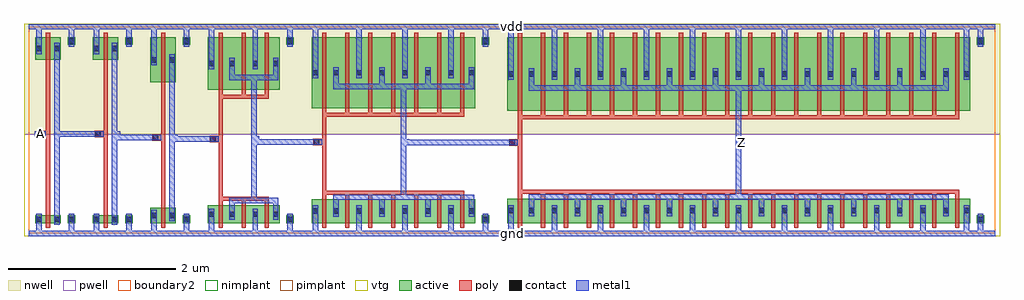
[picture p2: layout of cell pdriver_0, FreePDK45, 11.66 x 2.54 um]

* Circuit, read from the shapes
.subckt pdriver_0 A Z gnd vdd
M1 pinv_6_1/A A gnd gnd nfet w=0.09u l=0.05u
M2 pinv_7_2/A pinv_6_1/A gnd gnd nfet w=0.09u l=0.05u
M3 pinv_8_3/A pinv_7_2/A gnd gnd nfet w=0.18u l=0.05u
M4 pinv_9_4/A pinv_8_3/A gnd gnd nfet w=0.21u l=0.05u m=3
M5 pinv_10_5/A pinv_9_4/A gnd gnd nfet w=0.2825u l=0.05u m=7
M6 Z pinv_10_5/A gnd gnd nfet w=0.2925u l=0.05u m=20
M7 pinv_6_1/A A vdd vdd pfet w=0.27u l=0.05u
M8 pinv_7_2/A pinv_6_1/A vdd vdd pfet w=0.27u l=0.05u
M9 pinv_8_3/A pinv_7_2/A vdd vdd pfet w=0.54u l=0.05u
M10 pinv_9_4/A pinv_8_3/A vdd vdd pfet w=0.63u l=0.05u m=3
M11 pinv_10_5/A pinv_9_4/A vdd vdd pfet w=0.8475u l=0.05u m=7
M12 Z pinv_10_5/A vdd vdd pfet w=0.8775u l=0.05u m=20
.ends

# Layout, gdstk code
import gdstk
lib = gdstk.Library(unit=1e-6, precision=5e-10)
def R(c, l, rs):  # rectangles x0, y0, x1, y1
    for r in rs: c.add(gdstk.rectangle(r[:2], r[2:], *l))
def A(c, l, x, y, w, h, nx, ny, dx, dy):  # array of equal rectangles
    R(c, l, [(x+i*dx, y+j*dy, x+i*dx+w, y+j*dy+h) for i in range(nx) for j in range(ny)])
active = (1, 0)
pwell = (2, 0)
nwell = (3, 0)
nimplant = (4, 0)
pimplant = (5, 0)
vtg = (6, 0)
poly = (9, 0)
contact = (10, 0)
metal1 = (11, 0)
boundary2 = (239, 0)

contact_10 = lib.new_cell('contact_10')
R(contact_10, active, [(0,0.0225,0.09,0.1125)])
R(contact_10, nwell, [(-0.055,-0.0325,0.145,0.1675)])
R(contact_10, pimplant, [(0,0.0225,0.09,0.1125)])
R(contact_10, contact, [(0.0125,0.035,0.0775,0.1)])
R(contact_10, metal1, [(0.0125,0,0.0775,0.135)])
R(contact_10, boundary2, [(-0.055,-0.0325,0.145,0.1675)])

pmos_m1_w0_270_sm1_dm1_d = lib.new_cell('pmos_m1_w0_270_sm1_dm1_da_p')
R(pmos_m1_w0_270_sm1_dm1_d, active, [(0,0,0.305,0.27)])
R(pmos_m1_w0_270_sm1_dm1_d, nwell, [(-0.08,-0.08,0.385,0.35)])
R(pmos_m1_w0_270_sm1_dm1_d, pimplant, [(0,0,0.305,0.27)])
R(pmos_m1_w0_270_sm1_dm1_d, vtg, [(-0.08,-0.08,0.385,0.35)])
R(pmos_m1_w0_270_sm1_dm1_d, poly, [(0.1275,-0.055,0.1775,0.325), (0.1275,-0.055,0.1775,0.325)])
R(pmos_m1_w0_270_sm1_dm1_d, metal1, [(0.0125,0.0675,0.0775,0.2025), (0.2275,0.0675,0.2925,0.2025)])
R(pmos_m1_w0_270_sm1_dm1_d, boundary2, [(-0.08,-0.08,0.385,0.35)])
pmos_m1_w0_270_sm1_dm1_d.add(gdstk.Reference(contact_10, (0,0.0675)))
pmos_m1_w0_270_sm1_dm1_d.add(gdstk.Reference(contact_10, (0.215,0.0675)))
pmos_m1_w0_270_sm1_dm1_d.add(gdstk.Label('G', (0.1525,0.135), layer=9, texttype=0))
pmos_m1_w0_270_sm1_dm1_d.add(gdstk.Label('S', (0.045,0.135), layer=11, texttype=0))
pmos_m1_w0_270_sm1_dm1_d.add(gdstk.Label('D', (0.26,0.135), layer=11, texttype=0))

contact_9 = lib.new_cell('contact_9')
R(contact_9, active, [(0,0.0225,0.09,0.1125)])
R(contact_9, pwell, [(-0.055,-0.0325,0.145,0.1675)])
R(contact_9, nimplant, [(0,0.0225,0.09,0.1125)])
R(contact_9, contact, [(0.0125,0.035,0.0775,0.1)])
R(contact_9, metal1, [(0.0125,0,0.0775,0.135)])
R(contact_9, boundary2, [(-0.055,-0.0325,0.145,0.1675)])

nmos_m1_w0_090_sm1_dm1_d = lib.new_cell('nmos_m1_w0_090_sm1_dm1_da_p')
R(nmos_m1_w0_090_sm1_dm1_d, active, [(0,0,0.305,0.09)])
R(nmos_m1_w0_090_sm1_dm1_d, pwell, [(-0.08,-0.08,0.385,0.17)])
R(nmos_m1_w0_090_sm1_dm1_d, nimplant, [(0,0,0.305,0.09)])
R(nmos_m1_w0_090_sm1_dm1_d, vtg, [(-0.08,-0.08,0.385,0.17)])
R(nmos_m1_w0_090_sm1_dm1_d, poly, [(0.1275,-0.055,0.1775,0.145), (0.1275,-0.055,0.1775,0.145)])
R(nmos_m1_w0_090_sm1_dm1_d, metal1, [(0.0125,-0.0225,0.0775,0.1125), (0.2275,-0.0225,0.2925,0.1125)])
R(nmos_m1_w0_090_sm1_dm1_d, boundary2, [(-0.08,-0.08,0.385,0.17)])
nmos_m1_w0_090_sm1_dm1_d.add(gdstk.Reference(contact_9, (0,-0.0225)))
nmos_m1_w0_090_sm1_dm1_d.add(gdstk.Reference(contact_9, (0.215,-0.0225)))
nmos_m1_w0_090_sm1_dm1_d.add(gdstk.Label('G', (0.1525,0.045), layer=9, texttype=0))
nmos_m1_w0_090_sm1_dm1_d.add(gdstk.Label('S', (0.045,0.045), layer=11, texttype=0))
nmos_m1_w0_090_sm1_dm1_d.add(gdstk.Label('D', (0.26,0.045), layer=11, texttype=0))

contact_11 = lib.new_cell('contact_11')
R(contact_11, active, [(0,0.0225,0.09,0.1125)])
R(contact_11, nwell, [(-0.055,-0.0325,0.145,0.1675)])
R(contact_11, nimplant, [(0,0.0225,0.09,0.1125)])
R(contact_11, contact, [(0.0125,0.035,0.0775,0.1)])
R(contact_11, metal1, [(0.0125,0,0.0775,0.135)])
R(contact_11, boundary2, [(-0.055,-0.0325,0.145,0.1675)])

contact_12 = lib.new_cell('contact_12')
R(contact_12, active, [(0,0.0225,0.09,0.1125)])
R(contact_12, pwell, [(-0.055,-0.0325,0.145,0.1675)])
R(contact_12, pimplant, [(0,0.0225,0.09,0.1125)])
R(contact_12, contact, [(0.0125,0.035,0.0775,0.1)])
R(contact_12, metal1, [(0.0125,0,0.0775,0.135)])
R(contact_12, boundary2, [(-0.055,-0.0325,0.145,0.1675)])

contact_13 = lib.new_cell('contact_13')
R(contact_13, poly, [(0.03,0,0.105,0.075)])
R(contact_13, contact, [(0.035,0.005,0.1,0.07)])
R(contact_13, metal1, [(0,0.005,0.135,0.07)])
R(contact_13, boundary2, [(0,0,0.135,0.075)])

pinv_6 = lib.new_cell('pinv_6')
R(pinv_6, pwell, [(-0.055,-0.0325,0.7425,1.185)])
R(pinv_6, nwell, [(-0.055,1.185,0.7425,2.505)])
R(pinv_6, vtg, [(-0.055,-0.0325,0.7425,1.185), (-0.055,1.185,0.7425,2.505)])
R(pinv_6, poly, [(0.2075,0.27,0.2575,2.02), (0.14,1.1525,0.2075,1.2275)])
R(pinv_6, metal1, [(0,-0.0325,0.6875,0.0325), (0.0925,-0.0325,0.1575,0.1025), (0.4775,0,0.5425,0.17), (0.3075,0.1025,0.3725,2.2775), (0.0725,1.1575,0.2075,1.2225), (0.34,1.1575,0.405,1.2225), (0.0925,2.1425,0.1575,2.5025), (0.4775,2.3,0.5425,2.47), (0,2.4375,0.6875,2.5025)])
R(pinv_6, boundary2, [(0,0,0.6875,2.47), (0,0,0.6875,2.47)])
pinv_6.add(gdstk.Reference(pmos_m1_w0_270_sm1_dm1_d, (0.08,2.075)))
pinv_6.add(gdstk.Reference(nmos_m1_w0_090_sm1_dm1_d, (0.08,0.125)))
pinv_6.add(gdstk.Reference(contact_11, (0.465,2.2325)))
pinv_6.add(gdstk.Reference(contact_12, (0.465,0.1025)))
pinv_6.add(gdstk.Reference(contact_13, (0.0725,1.1525)))
pinv_6.add(gdstk.Label('A', (0.14,1.19), layer=11, texttype=0))
pinv_6.add(gdstk.Label('Z', (0.3725,1.19), layer=11, texttype=0))
pinv_6.add(gdstk.Label('gnd', (0.344,0), layer=11, texttype=0))
pinv_6.add(gdstk.Label('vdd', (0.344,2.47), layer=11, texttype=0))

pmos_m1_w0_540_sm1_dm1_d = lib.new_cell('pmos_m1_w0_540_sm1_dm1_da_p')
R(pmos_m1_w0_540_sm1_dm1_d, active, [(0,0,0.305,0.54)])
R(pmos_m1_w0_540_sm1_dm1_d, nwell, [(-0.08,-0.08,0.385,0.62)])
R(pmos_m1_w0_540_sm1_dm1_d, pimplant, [(0,0,0.305,0.54)])
R(pmos_m1_w0_540_sm1_dm1_d, vtg, [(-0.08,-0.08,0.385,0.62)])
R(pmos_m1_w0_540_sm1_dm1_d, poly, [(0.1275,-0.055,0.1775,0.595), (0.1275,-0.055,0.1775,0.595)])
R(pmos_m1_w0_540_sm1_dm1_d, metal1, [(0.0125,0.2025,0.0775,0.3375), (0.2275,0.2025,0.2925,0.3375)])
R(pmos_m1_w0_540_sm1_dm1_d, boundary2, [(-0.08,-0.08,0.385,0.62)])
pmos_m1_w0_540_sm1_dm1_d.add(gdstk.Reference(contact_10, (0,0.2025)))
pmos_m1_w0_540_sm1_dm1_d.add(gdstk.Reference(contact_10, (0.215,0.2025)))
pmos_m1_w0_540_sm1_dm1_d.add(gdstk.Label('G', (0.1525,0.27), layer=9, texttype=0))
pmos_m1_w0_540_sm1_dm1_d.add(gdstk.Label('S', (0.045,0.27), layer=11, texttype=0))
pmos_m1_w0_540_sm1_dm1_d.add(gdstk.Label('D', (0.26,0.27), layer=11, texttype=0))

nmos_m1_w0_180_sm1_dm1_d = lib.new_cell('nmos_m1_w0_180_sm1_dm1_da_p')
R(nmos_m1_w0_180_sm1_dm1_d, active, [(0,0,0.305,0.18)])
R(nmos_m1_w0_180_sm1_dm1_d, pwell, [(-0.08,-0.08,0.385,0.26)])
R(nmos_m1_w0_180_sm1_dm1_d, nimplant, [(0,0,0.305,0.18)])
R(nmos_m1_w0_180_sm1_dm1_d, vtg, [(-0.08,-0.08,0.385,0.26)])
R(nmos_m1_w0_180_sm1_dm1_d, poly, [(0.1275,-0.055,0.1775,0.235), (0.1275,-0.055,0.1775,0.235)])
R(nmos_m1_w0_180_sm1_dm1_d, metal1, [(0.0125,0.0225,0.0775,0.1575), (0.2275,0.0225,0.2925,0.1575)])
R(nmos_m1_w0_180_sm1_dm1_d, boundary2, [(-0.08,-0.08,0.385,0.26)])
nmos_m1_w0_180_sm1_dm1_d.add(gdstk.Reference(contact_9, (0,0.0225)))
nmos_m1_w0_180_sm1_dm1_d.add(gdstk.Reference(contact_9, (0.215,0.0225)))
nmos_m1_w0_180_sm1_dm1_d.add(gdstk.Label('G', (0.1525,0.09), layer=9, texttype=0))
nmos_m1_w0_180_sm1_dm1_d.add(gdstk.Label('S', (0.045,0.09), layer=11, texttype=0))
nmos_m1_w0_180_sm1_dm1_d.add(gdstk.Label('D', (0.26,0.09), layer=11, texttype=0))

pinv_7 = lib.new_cell('pinv_7')
R(pinv_7, pwell, [(-0.055,-0.0325,0.7425,1.185)])
R(pinv_7, nwell, [(-0.055,1.185,0.7425,2.505)])
R(pinv_7, vtg, [(-0.055,-0.0325,0.7425,1.185), (-0.055,1.185,0.7425,2.505)])
R(pinv_7, poly, [(0.2075,0.36,0.2575,1.75), (0.14,1.1075,0.2075,1.1825)])
R(pinv_7, metal1, [(0,-0.0325,0.6875,0.0325), (0.0925,-0.0325,0.1575,0.1475), (0.4775,0,0.5425,0.17), (0.3075,0.1475,0.3725,2.1425), (0.0725,1.1125,0.2075,1.1775), (0.34,1.1125,0.405,1.1775), (0.0925,2.0075,0.1575,2.5025), (0.4775,2.3,0.5425,2.47), (0,2.4375,0.6875,2.5025)])
R(pinv_7, boundary2, [(0,0,0.6875,2.47), (0,0,0.6875,2.47)])
pinv_7.add(gdstk.Reference(pmos_m1_w0_540_sm1_dm1_d, (0.08,1.805)))
pinv_7.add(gdstk.Reference(nmos_m1_w0_180_sm1_dm1_d, (0.08,0.125)))
pinv_7.add(gdstk.Reference(contact_11, (0.465,2.2325)))
pinv_7.add(gdstk.Reference(contact_12, (0.465,0.1025)))
pinv_7.add(gdstk.Reference(contact_13, (0.0725,1.1075)))
pinv_7.add(gdstk.Label('A', (0.14,1.145), layer=11, texttype=0))
pinv_7.add(gdstk.Label('Z', (0.3725,1.145), layer=11, texttype=0))
pinv_7.add(gdstk.Label('gnd', (0.344,0), layer=11, texttype=0))
pinv_7.add(gdstk.Label('vdd', (0.344,2.47), layer=11, texttype=0))

pmos_m3_w0_630_sm1_dm1_d = lib.new_cell('pmos_m3_w0_630_sm1_dm1_da_p')
R(pmos_m3_w0_630_sm1_dm1_d, active, [(0,0,0.855,0.63)])
R(pmos_m3_w0_630_sm1_dm1_d, nwell, [(-0.08,-0.08,0.935,0.71)])
R(pmos_m3_w0_630_sm1_dm1_d, pimplant, [(0,0,0.855,0.63)])
R(pmos_m3_w0_630_sm1_dm1_d, vtg, [(-0.08,-0.08,0.935,0.71)])
A(pmos_m3_w0_630_sm1_dm1_d, poly, 0.1275, -0.055, 0.05, 0.74, 3, 1, 0.275, 0)
R(pmos_m3_w0_630_sm1_dm1_d, poly, [(0.1275,-0.105,0.7275,-0.055)])
R(pmos_m3_w0_630_sm1_dm1_d, metal1, [(0.2575,0.1175,0.8425,0.1825), (0.2575,0.15,0.3225,0.315), (0.7775,0.15,0.8425,0.315), (0.0125,0.2475,0.0775,0.3825), (0.5325,0.2475,0.5975,0.3825)])
R(pmos_m3_w0_630_sm1_dm1_d, boundary2, [(-0.08,-0.105,0.935,0.71)])
pmos_m3_w0_630_sm1_dm1_d.add(gdstk.Reference(contact_10, (0,0.2475)))
pmos_m3_w0_630_sm1_dm1_d.add(gdstk.Reference(contact_10, (0.245,0.2475)))
pmos_m3_w0_630_sm1_dm1_d.add(gdstk.Reference(contact_10, (0.52,0.2475)))
pmos_m3_w0_630_sm1_dm1_d.add(gdstk.Reference(contact_10, (0.765,0.2475)))
pmos_m3_w0_630_sm1_dm1_d.add(gdstk.Label('G', (0.4275,-0.08), layer=9, texttype=0))
pmos_m3_w0_630_sm1_dm1_d.add(gdstk.Label('S', (0.045,0.315), layer=11, texttype=0))
pmos_m3_w0_630_sm1_dm1_d.add(gdstk.Label('S', (0.565,0.315), layer=11, texttype=0))
pmos_m3_w0_630_sm1_dm1_d.add(gdstk.Label('D', (0.55,0.15), layer=11, texttype=0))

nmos_m3_w0_210_sm1_dm1_d = lib.new_cell('nmos_m3_w0_210_sm1_dm1_da_p')
R(nmos_m3_w0_210_sm1_dm1_d, active, [(0,0,0.855,0.21)])
R(nmos_m3_w0_210_sm1_dm1_d, pwell, [(-0.08,-0.08,0.935,0.29)])
R(nmos_m3_w0_210_sm1_dm1_d, nimplant, [(0,0,0.855,0.21)])
R(nmos_m3_w0_210_sm1_dm1_d, vtg, [(-0.08,-0.08,0.935,0.29)])
A(nmos_m3_w0_210_sm1_dm1_d, poly, 0.1275, -0.055, 0.05, 0.32, 3, 1, 0.275, 0)
R(nmos_m3_w0_210_sm1_dm1_d, poly, [(0.1275,0.265,0.7275,0.315)])
R(nmos_m3_w0_210_sm1_dm1_d, metal1, [(0.0125,0.0375,0.0775,0.1725), (0.5325,0.0375,0.5975,0.1725), (0.2575,0.105,0.3225,0.27), (0.7775,0.105,0.8425,0.27), (0.2575,0.2375,0.8425,0.3025)])
R(nmos_m3_w0_210_sm1_dm1_d, boundary2, [(-0.08,-0.08,0.935,0.315)])
nmos_m3_w0_210_sm1_dm1_d.add(gdstk.Reference(contact_9, (0,0.0375)))
nmos_m3_w0_210_sm1_dm1_d.add(gdstk.Reference(contact_9, (0.245,0.0375)))
nmos_m3_w0_210_sm1_dm1_d.add(gdstk.Reference(contact_9, (0.52,0.0375)))
nmos_m3_w0_210_sm1_dm1_d.add(gdstk.Reference(contact_9, (0.765,0.0375)))
nmos_m3_w0_210_sm1_dm1_d.add(gdstk.Label('G', (0.4275,0.29), layer=9, texttype=0))
nmos_m3_w0_210_sm1_dm1_d.add(gdstk.Label('S', (0.565,0.105), layer=11, texttype=0))
nmos_m3_w0_210_sm1_dm1_d.add(gdstk.Label('S', (0.045,0.105), layer=11, texttype=0))
nmos_m3_w0_210_sm1_dm1_d.add(gdstk.Label('D', (0.55,0.27), layer=11, texttype=0))

pinv_8 = lib.new_cell('pinv_8')
R(pinv_8, pwell, [(-0.055,-0.0325,1.2925,1.185)])
R(pinv_8, nwell, [(-0.055,1.185,1.2925,2.505)])
R(pinv_8, vtg, [(-0.055,-0.0325,1.2925,1.185), (-0.055,1.185,1.2925,2.505)])
R(pinv_8, poly, [(0.2075,0.44,0.2575,1.61), (0.14,1.0925,0.2075,1.1675)])
R(pinv_8, metal1, [(0,-0.0325,1.2375,0.0325), (0.0925,-0.0325,0.1575,0.1625), (0.6125,-0.0325,0.6775,0.1625), (1.0275,0,1.0925,0.17), (0.5975,0.3625,0.6625,1.8975), (0.0725,1.0975,0.2075,1.1625), (0.63,1.0975,0.695,1.1625), (0.0925,1.9625,0.1575,2.5025), (0.6125,1.9625,0.6775,2.5025), (1.0275,2.3,1.0925,2.47), (0,2.4375,1.2375,2.5025)])
R(pinv_8, boundary2, [(0,0,1.2375,2.47), (0,0,1.2375,2.47)])
pinv_8.add(gdstk.Reference(pmos_m3_w0_630_sm1_dm1_d, (0.08,1.715)))
pinv_8.add(gdstk.Reference(nmos_m3_w0_210_sm1_dm1_d, (0.08,0.125)))
pinv_8.add(gdstk.Reference(contact_11, (1.015,2.2325)))
pinv_8.add(gdstk.Reference(contact_12, (1.015,0.1025)))
pinv_8.add(gdstk.Reference(contact_13, (0.0725,1.0925)))
pinv_8.add(gdstk.Label('A', (0.14,1.13), layer=11, texttype=0))
pinv_8.add(gdstk.Label('Z', (0.6625,1.13), layer=11, texttype=0))
pinv_8.add(gdstk.Label('gnd', (0.619,0), layer=11, texttype=0))
pinv_8.add(gdstk.Label('vdd', (0.619,2.47), layer=11, texttype=0))

pmos_m7_w0_848_sm1_dm1_d = lib.new_cell('pmos_m7_w0_848_sm1_dm1_da_p')
R(pmos_m7_w0_848_sm1_dm1_d, active, [(0,0,1.955,0.8475)])
R(pmos_m7_w0_848_sm1_dm1_d, nwell, [(-0.08,-0.08,2.035,0.9275)])
R(pmos_m7_w0_848_sm1_dm1_d, pimplant, [(0,0,1.955,0.8475)])
R(pmos_m7_w0_848_sm1_dm1_d, vtg, [(-0.08,-0.08,2.035,0.9275)])
A(pmos_m7_w0_848_sm1_dm1_d, poly, 0.1275, -0.055, 0.05, 0.9575, 7, 1, 0.275, 0)
R(pmos_m7_w0_848_sm1_dm1_d, poly, [(0.1275,-0.105,1.8275,-0.055)])
A(pmos_m7_w0_848_sm1_dm1_d, metal1, 0.2575, 0.26, 0.065, 0.165, 3, 1, 0.55, 0)
A(pmos_m7_w0_848_sm1_dm1_d, metal1, 0.5325, 0.355, 0.065, 0.135, 3, 1, 0.55, 0)
R(pmos_m7_w0_848_sm1_dm1_d, metal1, [(0.2575,0.225,1.9425,0.29), (1.8775,0.26,1.9425,0.425), (0.0125,0.355,0.0775,0.49)])
R(pmos_m7_w0_848_sm1_dm1_d, boundary2, [(-0.08,-0.105,2.035,0.9275)])
pmos_m7_w0_848_sm1_dm1_d.add(gdstk.Reference(contact_10, (0,0.355)))
pmos_m7_w0_848_sm1_dm1_d.add(gdstk.Reference(contact_10, (0.245,0.355)))
pmos_m7_w0_848_sm1_dm1_d.add(gdstk.Reference(contact_10, (0.52,0.355)))
pmos_m7_w0_848_sm1_dm1_d.add(gdstk.Reference(contact_10, (0.795,0.355)))
pmos_m7_w0_848_sm1_dm1_d.add(gdstk.Reference(contact_10, (1.07,0.355)))
pmos_m7_w0_848_sm1_dm1_d.add(gdstk.Reference(contact_10, (1.345,0.355)))
pmos_m7_w0_848_sm1_dm1_d.add(gdstk.Reference(contact_10, (1.62,0.355)))
pmos_m7_w0_848_sm1_dm1_d.add(gdstk.Reference(contact_10, (1.865,0.355)))
pmos_m7_w0_848_sm1_dm1_d.add(gdstk.Label('G', (0.9775,-0.08), layer=9, texttype=0))
pmos_m7_w0_848_sm1_dm1_d.add(gdstk.Label('S', (0.565,0.4225), layer=11, texttype=0))
pmos_m7_w0_848_sm1_dm1_d.add(gdstk.Label('S', (0.045,0.4225), layer=11, texttype=0))
pmos_m7_w0_848_sm1_dm1_d.add(gdstk.Label('S', (1.115,0.4225), layer=11, texttype=0))
pmos_m7_w0_848_sm1_dm1_d.add(gdstk.Label('S', (1.665,0.4225), layer=11, texttype=0))
pmos_m7_w0_848_sm1_dm1_d.add(gdstk.Label('D', (1.1,0.2575), layer=11, texttype=0))

nmos_m7_w0_283_sm1_dm1_d = lib.new_cell('nmos_m7_w0_283_sm1_dm1_da_p')
R(nmos_m7_w0_283_sm1_dm1_d, active, [(0,0,1.955,0.2825)])
R(nmos_m7_w0_283_sm1_dm1_d, pwell, [(-0.08,-0.08,2.035,0.3625)])
R(nmos_m7_w0_283_sm1_dm1_d, nimplant, [(0,0,1.955,0.2825)])
R(nmos_m7_w0_283_sm1_dm1_d, vtg, [(-0.08,-0.08,2.035,0.3625)])
A(nmos_m7_w0_283_sm1_dm1_d, poly, 0.1275, -0.055, 0.05, 0.3925, 7, 1, 0.275, 0)
R(nmos_m7_w0_283_sm1_dm1_d, poly, [(0.1275,0.3375,1.8275,0.3875)])
A(nmos_m7_w0_283_sm1_dm1_d, metal1, 0.5325, 0.075, 0.065, 0.135, 3, 1, 0.55, 0)
A(nmos_m7_w0_283_sm1_dm1_d, metal1, 0.2575, 0.14, 0.065, 0.165, 3, 1, 0.55, 0)
R(nmos_m7_w0_283_sm1_dm1_d, metal1, [(0.0125,0.075,0.0775,0.21), (1.8775,0.14,1.9425,0.305), (0.2575,0.275,1.9425,0.34)])
R(nmos_m7_w0_283_sm1_dm1_d, boundary2, [(-0.08,-0.08,2.035,0.3875)])
nmos_m7_w0_283_sm1_dm1_d.add(gdstk.Reference(contact_9, (0,0.075)))
nmos_m7_w0_283_sm1_dm1_d.add(gdstk.Reference(contact_9, (0.245,0.075)))
nmos_m7_w0_283_sm1_dm1_d.add(gdstk.Reference(contact_9, (0.52,0.075)))
nmos_m7_w0_283_sm1_dm1_d.add(gdstk.Reference(contact_9, (0.795,0.075)))
nmos_m7_w0_283_sm1_dm1_d.add(gdstk.Reference(contact_9, (1.07,0.075)))
nmos_m7_w0_283_sm1_dm1_d.add(gdstk.Reference(contact_9, (1.345,0.075)))
nmos_m7_w0_283_sm1_dm1_d.add(gdstk.Reference(contact_9, (1.62,0.075)))
nmos_m7_w0_283_sm1_dm1_d.add(gdstk.Reference(contact_9, (1.865,0.075)))
nmos_m7_w0_283_sm1_dm1_d.add(gdstk.Label('G', (0.9775,0.3625), layer=9, texttype=0))
nmos_m7_w0_283_sm1_dm1_d.add(gdstk.Label('S', (0.565,0.1425), layer=11, texttype=0))
nmos_m7_w0_283_sm1_dm1_d.add(gdstk.Label('S', (1.115,0.1425), layer=11, texttype=0))
nmos_m7_w0_283_sm1_dm1_d.add(gdstk.Label('S', (1.665,0.1425), layer=11, texttype=0))
nmos_m7_w0_283_sm1_dm1_d.add(gdstk.Label('S', (0.045,0.1425), layer=11, texttype=0))
nmos_m7_w0_283_sm1_dm1_d.add(gdstk.Label('D', (1.1,0.3075), layer=11, texttype=0))

pinv_9 = lib.new_cell('pinv_9')
R(pinv_9, pwell, [(-0.055,-0.0325,2.3925,1.185)])
R(pinv_9, nwell, [(-0.055,1.185,2.3925,2.505)])
R(pinv_9, vtg, [(-0.055,-0.0325,2.3925,1.185), (-0.055,1.185,2.3925,2.505)])
R(pinv_9, poly, [(0.2075,0.5125,0.2575,1.3925), (0.14,1.055,0.2075,1.13)])
A(pinv_9, metal1, 0.6125, -0.0325, 0.065, 0.2325, 3, 1, 0.55, 0)
A(pinv_9, metal1, 0.6125, 1.8525, 0.065, 0.65, 3, 1, 0.55, 0)
R(pinv_9, metal1, [(0,-0.0325,2.3375,0.0325), (0.0925,-0.0325,0.1575,0.2), (2.1275,0,2.1925,0.17), (1.1475,0.4,1.2125,1.7875), (0.0725,1.06,0.2075,1.125), (1.18,1.06,1.245,1.125), (0.0925,1.8525,0.1575,2.5025), (2.1275,2.3,2.1925,2.47), (0,2.4375,2.3375,2.5025)])
R(pinv_9, boundary2, [(0,0,2.3375,2.47), (0,0,2.3375,2.47)])
pinv_9.add(gdstk.Reference(pmos_m7_w0_848_sm1_dm1_d, (0.08,1.4975)))
pinv_9.add(gdstk.Reference(nmos_m7_w0_283_sm1_dm1_d, (0.08,0.125)))
pinv_9.add(gdstk.Reference(contact_11, (2.115,2.2325)))
pinv_9.add(gdstk.Reference(contact_12, (2.115,0.1025)))
pinv_9.add(gdstk.Reference(contact_13, (0.0725,1.055)))
pinv_9.add(gdstk.Label('A', (0.14,1.0925), layer=11, texttype=0))
pinv_9.add(gdstk.Label('Z', (1.2125,1.0925), layer=11, texttype=0))
pinv_9.add(gdstk.Label('gnd', (1.169,0), layer=11, texttype=0))
pinv_9.add(gdstk.Label('vdd', (1.169,2.47), layer=11, texttype=0))

pmos_m20_w0_878_sm1_dm1_ = lib.new_cell('pmos_m20_w0_878_sm1_dm1_da_p')
R(pmos_m20_w0_878_sm1_dm1_, active, [(0,0,5.53,0.8775)])
R(pmos_m20_w0_878_sm1_dm1_, nwell, [(-0.08,-0.08,5.61,0.9575)])
R(pmos_m20_w0_878_sm1_dm1_, pimplant, [(0,0,5.53,0.8775)])
R(pmos_m20_w0_878_sm1_dm1_, vtg, [(-0.08,-0.08,5.61,0.9575)])
A(pmos_m20_w0_878_sm1_dm1_, poly, 0.1275, -0.055, 0.05, 0.9875, 20, 1, 0.275, 0)
R(pmos_m20_w0_878_sm1_dm1_, poly, [(0.1275,-0.105,5.4025,-0.055)])
A(pmos_m20_w0_878_sm1_dm1_, metal1, 0.2575, 0.275, 0.065, 0.165, 10, 1, 0.55, 0)
A(pmos_m20_w0_878_sm1_dm1_, metal1, 0.5325, 0.37, 0.065, 0.135, 9, 1, 0.55, 0)
R(pmos_m20_w0_878_sm1_dm1_, metal1, [(0.2575,0.24,5.2725,0.305), (0.0125,0.37,0.0775,0.505), (5.4525,0.37,5.5175,0.505)])
R(pmos_m20_w0_878_sm1_dm1_, boundary2, [(-0.08,-0.105,5.61,0.9575)])
pmos_m20_w0_878_sm1_dm1_.add(gdstk.Reference(contact_10, (0,0.37)))
pmos_m20_w0_878_sm1_dm1_.add(gdstk.Reference(contact_10, (0.245,0.37)))
pmos_m20_w0_878_sm1_dm1_.add(gdstk.Reference(contact_10, (0.52,0.37)))
pmos_m20_w0_878_sm1_dm1_.add(gdstk.Reference(contact_10, (0.795,0.37)))
pmos_m20_w0_878_sm1_dm1_.add(gdstk.Reference(contact_10, (1.07,0.37)))
pmos_m20_w0_878_sm1_dm1_.add(gdstk.Reference(contact_10, (1.345,0.37)))
pmos_m20_w0_878_sm1_dm1_.add(gdstk.Reference(contact_10, (1.62,0.37)))
pmos_m20_w0_878_sm1_dm1_.add(gdstk.Reference(contact_10, (1.895,0.37)))
pmos_m20_w0_878_sm1_dm1_.add(gdstk.Reference(contact_10, (2.17,0.37)))
pmos_m20_w0_878_sm1_dm1_.add(gdstk.Reference(contact_10, (2.445,0.37)))
pmos_m20_w0_878_sm1_dm1_.add(gdstk.Reference(contact_10, (2.72,0.37)))
pmos_m20_w0_878_sm1_dm1_.add(gdstk.Reference(contact_10, (2.995,0.37)))
pmos_m20_w0_878_sm1_dm1_.add(gdstk.Reference(contact_10, (3.27,0.37)))
pmos_m20_w0_878_sm1_dm1_.add(gdstk.Reference(contact_10, (3.545,0.37)))
pmos_m20_w0_878_sm1_dm1_.add(gdstk.Reference(contact_10, (3.82,0.37)))
pmos_m20_w0_878_sm1_dm1_.add(gdstk.Reference(contact_10, (4.095,0.37)))
pmos_m20_w0_878_sm1_dm1_.add(gdstk.Reference(contact_10, (4.37,0.37)))
pmos_m20_w0_878_sm1_dm1_.add(gdstk.Reference(contact_10, (4.645,0.37)))
pmos_m20_w0_878_sm1_dm1_.add(gdstk.Reference(contact_10, (4.92,0.37)))
pmos_m20_w0_878_sm1_dm1_.add(gdstk.Reference(contact_10, (5.195,0.37)))
pmos_m20_w0_878_sm1_dm1_.add(gdstk.Reference(contact_10, (5.44,0.37)))
pmos_m20_w0_878_sm1_dm1_.add(gdstk.Label('G', (2.765,-0.08), layer=9, texttype=0))
pmos_m20_w0_878_sm1_dm1_.add(gdstk.Label('S', (3.865,0.4375), layer=11, texttype=0))
pmos_m20_w0_878_sm1_dm1_.add(gdstk.Label('S', (4.415,0.4375), layer=11, texttype=0))
pmos_m20_w0_878_sm1_dm1_.add(gdstk.Label('S', (4.965,0.4375), layer=11, texttype=0))
pmos_m20_w0_878_sm1_dm1_.add(gdstk.Label('S', (2.765,0.4375), layer=11, texttype=0))
pmos_m20_w0_878_sm1_dm1_.add(gdstk.Label('S', (3.315,0.4375), layer=11, texttype=0))
pmos_m20_w0_878_sm1_dm1_.add(gdstk.Label('S', (1.665,0.4375), layer=11, texttype=0))
pmos_m20_w0_878_sm1_dm1_.add(gdstk.Label('S', (1.115,0.4375), layer=11, texttype=0))
pmos_m20_w0_878_sm1_dm1_.add(gdstk.Label('S', (2.215,0.4375), layer=11, texttype=0))
pmos_m20_w0_878_sm1_dm1_.add(gdstk.Label('S', (0.045,0.4375), layer=11, texttype=0))
pmos_m20_w0_878_sm1_dm1_.add(gdstk.Label('S', (0.565,0.4375), layer=11, texttype=0))
pmos_m20_w0_878_sm1_dm1_.add(gdstk.Label('S', (5.485,0.4375), layer=11, texttype=0))
pmos_m20_w0_878_sm1_dm1_.add(gdstk.Label('D', (2.765,0.2725), layer=11, texttype=0))

nmos_m20_w0_292_sm1_dm1_ = lib.new_cell('nmos_m20_w0_292_sm1_dm1_da_p')
R(nmos_m20_w0_292_sm1_dm1_, active, [(0,0,5.53,0.2925)])
R(nmos_m20_w0_292_sm1_dm1_, pwell, [(-0.08,-0.08,5.61,0.3725)])
R(nmos_m20_w0_292_sm1_dm1_, nimplant, [(0,0,5.53,0.2925)])
R(nmos_m20_w0_292_sm1_dm1_, vtg, [(-0.08,-0.08,5.61,0.3725)])
A(nmos_m20_w0_292_sm1_dm1_, poly, 0.1275, -0.055, 0.05, 0.4025, 20, 1, 0.275, 0)
R(nmos_m20_w0_292_sm1_dm1_, poly, [(0.1275,0.3475,5.4025,0.3975)])
A(nmos_m20_w0_292_sm1_dm1_, metal1, 0.5325, 0.08, 0.065, 0.135, 9, 1, 0.55, 0)
A(nmos_m20_w0_292_sm1_dm1_, metal1, 0.2575, 0.145, 0.065, 0.165, 10, 1, 0.55, 0)
R(nmos_m20_w0_292_sm1_dm1_, metal1, [(0.0125,0.08,0.0775,0.215), (5.4525,0.08,5.5175,0.215), (0.2575,0.28,5.2725,0.345)])
R(nmos_m20_w0_292_sm1_dm1_, boundary2, [(-0.08,-0.08,5.61,0.3975)])
nmos_m20_w0_292_sm1_dm1_.add(gdstk.Reference(contact_9, (0,0.08)))
nmos_m20_w0_292_sm1_dm1_.add(gdstk.Reference(contact_9, (0.245,0.08)))
nmos_m20_w0_292_sm1_dm1_.add(gdstk.Reference(contact_9, (0.52,0.08)))
nmos_m20_w0_292_sm1_dm1_.add(gdstk.Reference(contact_9, (0.795,0.08)))
nmos_m20_w0_292_sm1_dm1_.add(gdstk.Reference(contact_9, (1.07,0.08)))
nmos_m20_w0_292_sm1_dm1_.add(gdstk.Reference(contact_9, (1.345,0.08)))
nmos_m20_w0_292_sm1_dm1_.add(gdstk.Reference(contact_9, (1.62,0.08)))
nmos_m20_w0_292_sm1_dm1_.add(gdstk.Reference(contact_9, (1.895,0.08)))
nmos_m20_w0_292_sm1_dm1_.add(gdstk.Reference(contact_9, (2.17,0.08)))
nmos_m20_w0_292_sm1_dm1_.add(gdstk.Reference(contact_9, (2.445,0.08)))
nmos_m20_w0_292_sm1_dm1_.add(gdstk.Reference(contact_9, (2.72,0.08)))
nmos_m20_w0_292_sm1_dm1_.add(gdstk.Reference(contact_9, (2.995,0.08)))
nmos_m20_w0_292_sm1_dm1_.add(gdstk.Reference(contact_9, (3.27,0.08)))
nmos_m20_w0_292_sm1_dm1_.add(gdstk.Reference(contact_9, (3.545,0.08)))
nmos_m20_w0_292_sm1_dm1_.add(gdstk.Reference(contact_9, (3.82,0.08)))
nmos_m20_w0_292_sm1_dm1_.add(gdstk.Reference(contact_9, (4.095,0.08)))
nmos_m20_w0_292_sm1_dm1_.add(gdstk.Reference(contact_9, (4.37,0.08)))
nmos_m20_w0_292_sm1_dm1_.add(gdstk.Reference(contact_9, (4.645,0.08)))
nmos_m20_w0_292_sm1_dm1_.add(gdstk.Reference(contact_9, (4.92,0.08)))
nmos_m20_w0_292_sm1_dm1_.add(gdstk.Reference(contact_9, (5.195,0.08)))
nmos_m20_w0_292_sm1_dm1_.add(gdstk.Reference(contact_9, (5.44,0.08)))
nmos_m20_w0_292_sm1_dm1_.add(gdstk.Label('G', (2.765,0.3725), layer=9, texttype=0))
nmos_m20_w0_292_sm1_dm1_.add(gdstk.Label('S', (2.215,0.1475), layer=11, texttype=0))
nmos_m20_w0_292_sm1_dm1_.add(gdstk.Label('S', (0.045,0.1475), layer=11, texttype=0))
nmos_m20_w0_292_sm1_dm1_.add(gdstk.Label('S', (4.415,0.1475), layer=11, texttype=0))
nmos_m20_w0_292_sm1_dm1_.add(gdstk.Label('S', (0.565,0.1475), layer=11, texttype=0))
nmos_m20_w0_292_sm1_dm1_.add(gdstk.Label('S', (3.865,0.1475), layer=11, texttype=0))
nmos_m20_w0_292_sm1_dm1_.add(gdstk.Label('S', (4.965,0.1475), layer=11, texttype=0))
nmos_m20_w0_292_sm1_dm1_.add(gdstk.Label('S', (3.315,0.1475), layer=11, texttype=0))
nmos_m20_w0_292_sm1_dm1_.add(gdstk.Label('S', (1.115,0.1475), layer=11, texttype=0))
nmos_m20_w0_292_sm1_dm1_.add(gdstk.Label('S', (1.665,0.1475), layer=11, texttype=0))
nmos_m20_w0_292_sm1_dm1_.add(gdstk.Label('S', (5.485,0.1475), layer=11, texttype=0))
nmos_m20_w0_292_sm1_dm1_.add(gdstk.Label('S', (2.765,0.1475), layer=11, texttype=0))
nmos_m20_w0_292_sm1_dm1_.add(gdstk.Label('D', (2.765,0.3125), layer=11, texttype=0))

pinv_10 = lib.new_cell('pinv_10')
R(pinv_10, pwell, [(-0.055,-0.0325,5.9675,1.185)])
R(pinv_10, nwell, [(-0.055,1.185,5.9675,2.505)])
R(pinv_10, vtg, [(-0.055,-0.0325,5.9675,1.185), (-0.055,1.185,5.9675,2.505)])
R(pinv_10, poly, [(0.2075,0.5225,0.2575,1.3625), (0.14,1.05,0.2075,1.125)])
A(pinv_10, metal1, 0.6125, -0.0325, 0.065, 0.2375, 9, 1, 0.55, 0)
A(pinv_10, metal1, 0.6125, 1.8375, 0.065, 0.665, 9, 1, 0.55, 0)
R(pinv_10, metal1, [(0,-0.0325,5.9125,0.0325), (0.0925,-0.0325,0.1575,0.205), (5.5325,-0.0325,5.5975,0.205), (5.7025,0,5.7675,0.17), (2.8125,0.405,2.8775,1.7725), (0.0725,1.055,0.2075,1.12), (2.845,1.055,2.91,1.12), (0.0925,1.8375,0.1575,2.5025), (5.5325,1.8375,5.5975,2.5025), (5.7025,2.3,5.7675,2.47), (0,2.4375,5.9125,2.5025)])
R(pinv_10, boundary2, [(0,0,5.9125,2.47), (0,0,5.9125,2.47)])
pinv_10.add(gdstk.Reference(pmos_m20_w0_878_sm1_dm1_, (0.08,1.4675)))
pinv_10.add(gdstk.Reference(nmos_m20_w0_292_sm1_dm1_, (0.08,0.125)))
pinv_10.add(gdstk.Reference(contact_11, (5.69,2.2325)))
pinv_10.add(gdstk.Reference(contact_12, (5.69,0.1025)))
pinv_10.add(gdstk.Reference(contact_13, (0.0725,1.05)))
pinv_10.add(gdstk.Label('A', (0.14,1.0875), layer=11, texttype=0))
pinv_10.add(gdstk.Label('Z', (2.8775,1.0875), layer=11, texttype=0))
pinv_10.add(gdstk.Label('gnd', (2.9565,0), layer=11, texttype=0))
pinv_10.add(gdstk.Label('vdd', (2.9565,2.47), layer=11, texttype=0))

pdriver_0 = lib.new_cell('pdriver_0')
R(pdriver_0, pwell, [(-0.055,-0.0325,11.605,1.185)])
R(pdriver_0, nwell, [(-0.055,1.185,11.605,2.505)])
R(pdriver_0, vtg, [(-0.055,-0.0325,11.605,1.185), (-0.055,1.185,11.605,2.505)])
R(pdriver_0, metal1, [(0,-0.0325,11.55,0.0325), (4.48,1.055,4.545,1.12), (4.5125,1.055,5.7775,1.12), (8.4825,1.055,8.5475,1.12), (2.6925,1.06,2.7575,1.125), (2.725,1.06,3.44,1.125), (4.48,1.0875,4.545,1.0925), (2.6925,1.0925,2.7575,1.13), (1.715,1.0975,1.78,1.1625), (1.7475,1.0975,2.2025,1.1625), (1.0275,1.1125,1.0925,1.1775), (1.06,1.1125,1.515,1.1775), (1.715,1.13,1.78,1.145), (1.0275,1.145,1.0925,1.19), (0.0725,1.1575,0.2075,1.2225), (0.3725,1.1575,0.8275,1.2225), (0,2.4375,11.55,2.5025)])
R(pdriver_0, boundary2, [(0,0,11.55,2.47), (0,0,11.55,2.47)])
pdriver_0.add(gdstk.Reference(pinv_6, (0,0)))
pdriver_0.add(gdstk.Reference(pinv_6, (0.6875,0)))
pdriver_0.add(gdstk.Reference(pinv_7, (1.375,0)))
pdriver_0.add(gdstk.Reference(pinv_8, (2.0625,0)))
pdriver_0.add(gdstk.Reference(pinv_9, (3.3,0)))
pdriver_0.add(gdstk.Reference(pinv_10, (5.6375,0)))
pdriver_0.add(gdstk.Label('Z', (8.515,1.0875), layer=11, texttype=0))
pdriver_0.add(gdstk.Label('A', (0.14,1.19), layer=11, texttype=0))
pdriver_0.add(gdstk.Label('gnd', (5.775,0), layer=11, texttype=0))
pdriver_0.add(gdstk.Label('vdd', (5.775,2.47), layer=11, texttype=0))

lib.write_gds('pdriver_0.gds')
